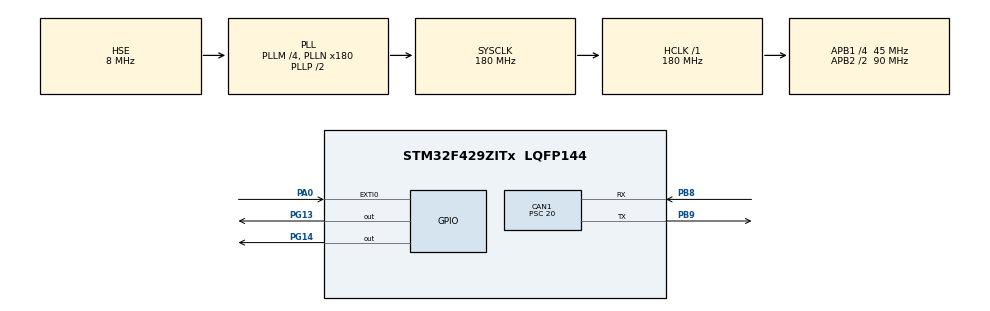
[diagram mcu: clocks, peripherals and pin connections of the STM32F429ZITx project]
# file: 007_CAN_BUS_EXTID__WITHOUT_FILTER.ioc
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CAN1.BS1=CAN_BS1_15TQ
CAN1.BS2=CAN_BS2_2TQ
CAN1.CalculateBaudRate=125000
CAN1.CalculateTimeBit=8000
CAN1.CalculateTimeQuantum=444.44444444444446
CAN1.Mode=CAN_MODE_NORMAL
CAN1.Prescaler=20
Mcu.Family=STM32F4
Mcu.Name=STM32F429ZITx
Mcu.Package=LQFP144
NVIC.CAN1_RX0_IRQn=true\:0\:1\:false\:false\:true\:true\:true\:true
NVIC.EXTI0_IRQn=true\:0\:0\:false\:false\:true\:true\:true\:true
NVIC.PriorityGroup=NVIC_PRIORITYGROUP_0
PA0/WKUP.Signal=GPXTI0
PB8.Mode=CAN_Activate
PB8.Signal=CAN1_RX
PB9.Mode=CAN_Activate
PB9.Signal=CAN1_TX
PG13.Signal=GPIO_Output
PG14.Signal=GPIO_Output
PH0/OSC_IN.Mode=HSE-External-Oscillator
PH0/OSC_IN.Signal=RCC_OSC_IN
PH1/OSC_OUT.Mode=HSE-External-Oscillator
PH1/OSC_OUT.Signal=RCC_OSC_OUT
ProjectManager.HeapSize=0x200
ProjectManager.StackSize=0x400
ProjectManager.TargetToolchain=STM32CubeIDE
RCC.48MHZClocksFreq_Value=51428571.428571425
RCC.AHBFreq_Value=180000000
RCC.APB1CLKDivider=RCC_HCLK_DIV4
RCC.APB1Freq_Value=45000000
RCC.APB1TimFreq_Value=90000000
RCC.APB2CLKDivider=RCC_HCLK_DIV2
RCC.APB2Freq_Value=90000000
RCC.APB2TimFreq_Value=180000000
RCC.CortexFreq_Value=180000000
RCC.HCLKFreq_Value=180000000
RCC.HSE_VALUE=8000000
RCC.HSI_VALUE=16000000
RCC.LSE_VALUE=32768
RCC.PLLM=4
RCC.PLLN=180
RCC.PLLQ=7
RCC.PLLSourceVirtual=RCC_PLLSOURCE_HSE
RCC.SYSCLKFreq_VALUE=180000000
RCC.SYSCLKSource=RCC_SYSCLKSOURCE_PLLCLK
RCC.VCOOutputFreq_Value=360000000
board=STM32F429I-DISC1

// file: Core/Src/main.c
/* USER CODE BEGIN Header */
/**
  ******************************************************************************
  * @file           : main.c
  * @brief          : Main program body
  ******************************************************************************
  * @attention
  *
  * Copyright (c) 2023 STMicroelectronics.
  * All rights reserved.
  *
  * This software is licensed under terms that can be found in the LICENSE file
  * in the root directory of this software component.
  * If no LICENSE file comes with this software, it is provided AS-IS.
  *
  ******************************************************************************
  */
/* USER CODE END Header */
#include "main.h"

CAN_HandleTypeDef hcan1;

/* USER CODE BEGIN PV */
CAN_TxHeaderTypeDef txhcan1;
CAN_RxHeaderTypeDef rxhcan1;
CAN_FilterTypeDef  sFilterConfig;
uint32_t Tx_Mailbox;
uint8_t count;
uint8_t rcount;
/* USER CODE END PV */

void SystemClock_Config(void);
static void MX_GPIO_Init(void);
static void MX_CAN1_Init(void);

int main(void)
{

  /* MCU Configuration--------------------------------------------------------*/

  /* Reset of all peripherals, Initializes the Flash interface and the Systick. */
  HAL_Init();

  /* Configure the system clock */
  SystemClock_Config();

  /* Initialize all configured peripherals */
  MX_GPIO_Init();
  MX_CAN1_Init();

  /* USER CODE BEGIN 2 */
  // Set Filter Paramaters
  sFilterConfig.FilterActivation = CAN_FILTER_ENABLE;
  sFilterConfig.FilterBank = 0; // use 0 bank  filter
  sFilterConfig.FilterFIFOAssignment = CAN_FILTER_FIFO0;
  sFilterConfig.FilterIdHigh =0x0000;
  sFilterConfig.FilterIdLow = 0x0000;
  sFilterConfig.FilterMaskIdHigh=0x0000;
  sFilterConfig.FilterMaskIdLow = 0x0000;
  sFilterConfig.FilterMode = CAN_FILTERMODE_IDMASK;
  sFilterConfig.FilterScale = CAN_FILTERSCALE_32BIT;

  if(HAL_CAN_ConfigFilter(&hcan1, &sFilterConfig)!=HAL_OK)
    {
  	  Error_Handler(); // HANDLE CAN CONFIG FILTER WITH SELECTED PARAMATERS

    }

  if(HAL_CAN_Start(&hcan1)!=HAL_OK)
  {
	  Error_Handler(); // START CAN COMMUNICATION

  }
  if(HAL_CAN_ActivateNotification(&hcan1,CAN_IT_RX_FIFO0_MSG_PENDING)!=HAL_OK)
    {
  	  Error_Handler(); // START CAN RX INTERRUPT

    }

  //Set Transmit Parameters.  // Board 2 will not take this message cause its not between its filter
  txhcan1.DLC = 1;
  txhcan1.IDE = CAN_ID_EXT;
  txhcan1.RTR = CAN_RTR_DATA ;
  txhcan1.ExtId = 0x1FBFD010; // message id for extid

  /* USER CODE END 2 */

  /* Infinite loop */
  while (1)
  {

  }
}

void SystemClock_Config(void)
{
  RCC_OscInitTypeDef RCC_OscInitStruct = {0};
  RCC_ClkInitTypeDef RCC_ClkInitStruct = {0};

  /** Configure the main internal regulator output voltage
  */
  __HAL_RCC_PWR_CLK_ENABLE();
  __HAL_PWR_VOLTAGESCALING_CONFIG(PWR_REGULATOR_VOLTAGE_SCALE1);

  /** Initializes the RCC Oscillators according to the specified parameters
  * in the RCC_OscInitTypeDef structure.
  */
  RCC_OscInitStruct.OscillatorType = RCC_OSCILLATORTYPE_HSE;
  RCC_OscInitStruct.HSEState = RCC_HSE_ON;
  RCC_OscInitStruct.PLL.PLLState = RCC_PLL_ON;
  RCC_OscInitStruct.PLL.PLLSource = RCC_PLLSOURCE_HSE;
  RCC_OscInitStruct.PLL.PLLM = 4;
  RCC_OscInitStruct.PLL.PLLN = 180;
  RCC_OscInitStruct.PLL.PLLP = RCC_PLLP_DIV2;
  RCC_OscInitStruct.PLL.PLLQ = 7;
  if (HAL_RCC_OscConfig(&RCC_OscInitStruct) != HAL_OK)
  {
    Error_Handler();
  }

  /** Activate the Over-Drive mode
  */
  if (HAL_PWREx_EnableOverDrive() != HAL_OK)
  {
    Error_Handler();
  }

  /** Initializes the CPU, AHB and APB buses clocks
  */
  RCC_ClkInitStruct.ClockType = RCC_CLOCKTYPE_HCLK|RCC_CLOCKTYPE_SYSCLK
                              |RCC_CLOCKTYPE_PCLK1|RCC_CLOCKTYPE_PCLK2;
  RCC_ClkInitStruct.SYSCLKSource = RCC_SYSCLKSOURCE_PLLCLK;
  RCC_ClkInitStruct.AHBCLKDivider = RCC_SYSCLK_DIV1;
  RCC_ClkInitStruct.APB1CLKDivider = RCC_HCLK_DIV4;
  RCC_ClkInitStruct.APB2CLKDivider = RCC_HCLK_DIV2;

  if (HAL_RCC_ClockConfig(&RCC_ClkInitStruct, FLASH_LATENCY_5) != HAL_OK)
  {
    Error_Handler();
  }
}

static void MX_CAN1_Init(void)
{

  hcan1.Instance = CAN1;
  hcan1.Init.Prescaler = 20;
  hcan1.Init.Mode = CAN_MODE_NORMAL;
  hcan1.Init.SyncJumpWidth = CAN_SJW_1TQ;
  hcan1.Init.TimeSeg1 = CAN_BS1_15TQ;
  hcan1.Init.TimeSeg2 = CAN_BS2_2TQ;
  hcan1.Init.TimeTriggeredMode = DISABLE;
  hcan1.Init.AutoBusOff = DISABLE;
  hcan1.Init.AutoWakeUp = DISABLE;
  hcan1.Init.AutoRetransmission = DISABLE;
  hcan1.Init.ReceiveFifoLocked = DISABLE;
  hcan1.Init.TransmitFifoPriority = DISABLE;
  if (HAL_CAN_Init(&hcan1) != HAL_OK)
  {
    Error_Handler();
  }

}

static void MX_GPIO_Init(void)
{
  GPIO_InitTypeDef GPIO_InitStruct = {0};

  /* GPIO Ports Clock Enable */
  __HAL_RCC_GPIOH_CLK_ENABLE();
  __HAL_RCC_GPIOA_CLK_ENABLE();
  __HAL_RCC_GPIOG_CLK_ENABLE();
  __HAL_RCC_GPIOB_CLK_ENABLE();

  /*Configure GPIO pin Output Level */
  HAL_GPIO_WritePin(GPIOG, GPIO_PIN_13|GPIO_PIN_14, GPIO_PIN_RESET);

  /*Configure GPIO pin : PA0 */
  GPIO_InitStruct.Pin = GPIO_PIN_0;
  GPIO_InitStruct.Mode = GPIO_MODE_IT_RISING;
  GPIO_InitStruct.Pull = GPIO_NOPULL;
  HAL_GPIO_Init(GPIOA, &GPIO_InitStruct);

  /*Configure GPIO pins : PG13 PG14 */
  GPIO_InitStruct.Pin = GPIO_PIN_13|GPIO_PIN_14;
  GPIO_InitStruct.Mode = GPIO_MODE_OUTPUT_PP;
  GPIO_InitStruct.Pull = GPIO_NOPULL;
  GPIO_InitStruct.Speed = GPIO_SPEED_FREQ_LOW;
  HAL_GPIO_Init(GPIOG, &GPIO_InitStruct);

  /* EXTI interrupt init*/
  HAL_NVIC_SetPriority(EXTI0_IRQn, 0, 0);
  HAL_NVIC_EnableIRQ(EXTI0_IRQn);

}

void Error_Handler(void)
{
  __disable_irq();
  while (1)
  {
  }
}
